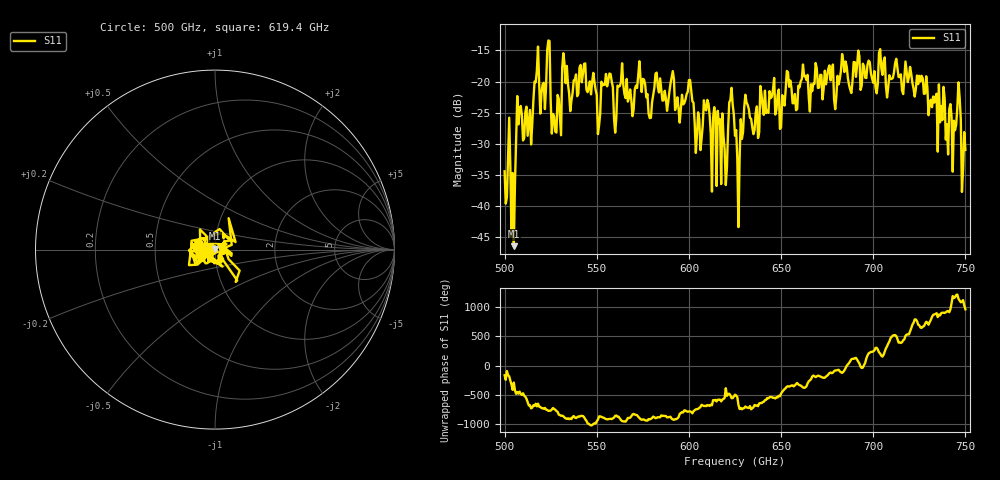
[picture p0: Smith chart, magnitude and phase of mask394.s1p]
!Created with skrf (http://scikit-rf.org).
# GHz S MA R 50.0
!freq magS11 angS11
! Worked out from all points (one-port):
!   401 points, 500 GHz to 750 GHz, reference 50 ohm
!   lowest |S11| = -46.4 dB at 505 GHz (marker M1), VSWR 1.01, Z = 50.2 + j0.445 ohm
!   |S11| at or under -10 dB: start of sweep to end of sweep
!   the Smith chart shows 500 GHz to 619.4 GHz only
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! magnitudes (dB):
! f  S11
! 500 GHz  -34.4
! 505 GHz  -46.4
! 508.1 GHz  -24.5
! 513.8 GHz  -24.6
! 516.9 GHz  -20.1
! 520.6 GHz  -20.4
! 523.8 GHz  -13.4
! 526.9 GHz  -25.6
! 531.2 GHz  -17.8
! 542.5 GHz  -18.8
! 550.6 GHz  -28.5
! 562.5 GHz  -20.7
! 590.6 GHz  -19.3
! 593.8 GHz  -22.5
! 600 GHz  -19.8
! 605 GHz  -24.9
! 609.4 GHz  -24.6
! 618.8 GHz  -28.7
! 623.1 GHz  -21.0
! 625 GHz  -28.7
! 626.2 GHz  -32.3
! 631.2 GHz  -23.3
! 656.2 GHz  -23.5
! 687.5 GHz  -21.3
! 718.8 GHz  -20.1
! 741.9 GHz  -23.6
! 746.2 GHz  -20.1
! 750 GHz  -31.0
